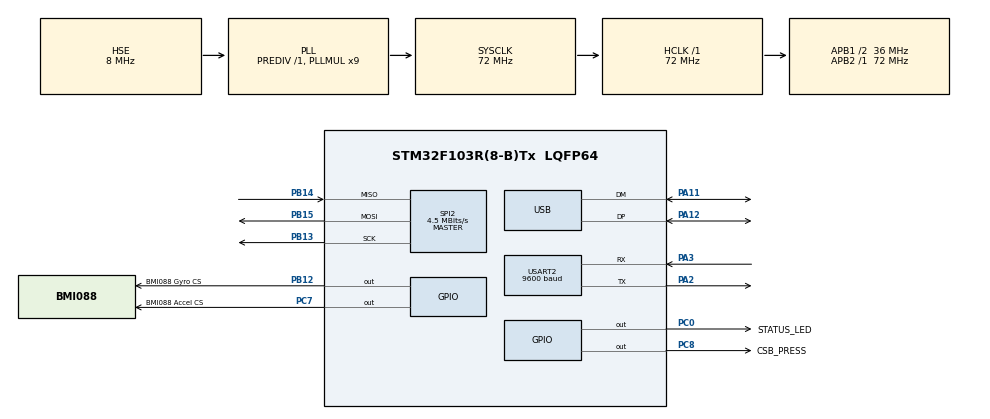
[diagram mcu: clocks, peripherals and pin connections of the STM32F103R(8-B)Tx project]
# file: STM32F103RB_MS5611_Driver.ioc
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Mcu.Family=STM32F1
Mcu.Name=STM32F103R(8-B)Tx
Mcu.Package=LQFP64
NVIC.PriorityGroup=NVIC_PRIORITYGROUP_4
NVIC.USART2_IRQn=true\:0\:0\:false\:false\:true\:true\:true\:true
NVIC.USB_LP_CAN1_RX0_IRQn=true\:0\:0\:false\:false\:true\:false\:true\:true
PA11.Mode=Device
PA11.Signal=USB_DM
PA12.Mode=Device
PA12.Signal=USB_DP
PA13.Mode=Serial_Wire
PA13.Signal=SYS_JTMS-SWDIO
PA14.Mode=Serial_Wire
PA14.Signal=SYS_JTCK-SWCLK
PA2.Mode=Asynchronous
PA2.Signal=USART2_TX
PA3.Mode=Asynchronous
PA3.Signal=USART2_RX
PB12.GPIO_Label=BMI088 Gyro CS
PB12.GPIO_Speed=GPIO_SPEED_FREQ_HIGH
PB12.PinState=GPIO_PIN_SET
PB12.Signal=GPIO_Output
PB13.Mode=Full_Duplex_Master
PB13.Signal=SPI2_SCK
PB14.Mode=Full_Duplex_Master
PB14.Signal=SPI2_MISO
PB15.Mode=Full_Duplex_Master
PB15.Signal=SPI2_MOSI
PC0.GPIO_Label=STATUS_LED
PC0.Signal=GPIO_Output
PC7.GPIO_Label=BMI088 Accel CS
PC7.GPIO_Speed=GPIO_SPEED_FREQ_HIGH
PC7.PinState=GPIO_PIN_SET
PC7.Signal=GPIO_Output
PC8.GPIO_Label=CSB_PRESS
PC8.GPIO_Speed=GPIO_SPEED_FREQ_HIGH
PC8.PinState=GPIO_PIN_SET
PC8.Signal=GPIO_Output
PD0-OSC_IN.Mode=HSE-External-Oscillator
PD0-OSC_IN.Signal=RCC_OSC_IN
PD1-OSC_OUT.Mode=HSE-External-Oscillator
PD1-OSC_OUT.Signal=RCC_OSC_OUT
ProjectManager.HeapSize=0x200
ProjectManager.StackSize=0x400
ProjectManager.TargetToolchain=STM32CubeIDE
RCC.AHBFreq_Value=72000000
RCC.APB1CLKDivider=RCC_HCLK_DIV2
RCC.APB1Freq_Value=36000000
RCC.APB1TimFreq_Value=72000000
RCC.APB2Freq_Value=72000000
RCC.APB2TimFreq_Value=72000000
RCC.EnbaleCSS=true
RCC.HCLKFreq_Value=72000000
RCC.PLLMUL=RCC_PLL_MUL9
RCC.PLLSourceVirtual=RCC_PLLSOURCE_HSE
RCC.SYSCLKFreq_VALUE=72000000
RCC.SYSCLKSource=RCC_SYSCLKSOURCE_PLLCLK
RCC.USBFreq_Value=48000000
RCC.USBPrescaler=RCC_USBCLKSOURCE_PLL_DIV1_5
SPI2.BaudRatePrescaler=SPI_BAUDRATEPRESCALER_8
SPI2.CLKPhase=SPI_PHASE_2EDGE
SPI2.CLKPolarity=SPI_POLARITY_HIGH
SPI2.CalculateBaudRate=4.5 MBits/s
SPI2.Direction=SPI_DIRECTION_2LINES
SPI2.Mode=SPI_MODE_MASTER
SPI2.VirtualType=VM_MASTER
USART2.BaudRate=9600
USART2.VirtualMode=VM_ASYNC
USB_DEVICE.CLASS_NAME_FS=CDC
USB_DEVICE.MANUFACTURER_STRING=AMA Engineering Solutions
USB_DEVICE.PRODUCT_STRING_CDC_FS=MS5611 Sensor Board
USB_DEVICE.VirtualMode=Cdc
USB_DEVICE.VirtualModeFS=Cdc_FS
VP_USB_DEVICE_VS_USB_DEVICE_CDC_FS.Mode=CDC_FS
board=custom

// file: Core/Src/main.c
/* USER CODE BEGIN Header */
/**
  ******************************************************************************
  * @file           : main.c
  * @brief          : Main program body
  ******************************************************************************
  * @attention
  *
  * Copyright (c) 2025 STMicroelectronics.
  * All rights reserved.
  *
  * This software is licensed under terms that can be found in the LICENSE file
  * in the root directory of this software component.
  * If no LICENSE file comes with this software, it is provided AS-IS.
  *
  ******************************************************************************
  */
/* USER CODE END Header */
#include "main.h"
#include "spi.h"
#include "usart.h"
#include "usb_device.h"
#include "gpio.h"

/* USER CODE BEGIN Includes */
#include "ms5611.h"
#include "usbd_cdc_if.h"
#include "bmi088.h"
#include "ublox_m8c.h"
#include <stdio.h>
#include <string.h>
/* USER CODE END Includes */

/* USER CODE BEGIN PV */
extern SPI_HandleTypeDef hspi2;
extern UART_HandleTypeDef huart2;

MS5611_Handle_t ms5611;
BMI088_Handle_t bmi088;
UBLOX_M8C_Handle_t gps;
// Global variables for Live Expressions / Data Trace
volatile float sensor_pressure = 0.0f;
volatile float sensor_temperature = 0.0f;
volatile float accel_x = 0.0f, accel_y = 0.0f, accel_z = 0.0f;
volatile float gyro_x = 0.0f, gyro_y = 0.0f, gyro_z = 0.0f;
volatile float imu_temperature = 0.0f;
volatile float gps_latitude = 0.0f;
volatile float gps_longitude = 0.0f;
volatile float gps_altitude = 0.0f;
volatile uint8_t gps_satellites = 0;

/* USER CODE END PV */

void SystemClock_Config(void);

int main(void)
{

  /* MCU Configuration--------------------------------------------------------*/

  /* Reset of all peripherals, Initializes the Flash interface and the Systick. */
  HAL_Init();

  /* Configure the system clock */
  SystemClock_Config();

  /* Initialize all configured peripherals */
  MX_GPIO_Init();
  MX_SPI2_Init();
  MX_USB_DEVICE_Init();
  MX_USART2_UART_Init();
  /* USER CODE BEGIN 2 */
  HAL_Delay(2000);

  char buffer[200];
  int len;

  /* Initialize MS5611 Barometer */
  len = sprintf(buffer, "\r\n=== Sensor Initialization ===\r\n");
  CDC_Transmit_FS((uint8_t*)buffer, len);
  HAL_Delay(200);

  len = sprintf(buffer, "Step 1: Init MS5611...\r\n");
  CDC_Transmit_FS((uint8_t*)buffer, len);
  HAL_Delay(200);

  if (!MS5611_Init(&ms5611, &hspi2, GPIOC, GPIO_PIN_8, MS5611_OSR_4096)) {
      len = sprintf(buffer, "MS5611: FAILED!\r\n");
      CDC_Transmit_FS((uint8_t*)buffer, len);
      HAL_Delay(200);

      // Rapid blink = MS5611 error (100ms)
      while (1) {
          HAL_GPIO_TogglePin(GPIOC, GPIO_PIN_0);
          HAL_Delay(100);
      }
  }
  len = sprintf(buffer, "Step 2: MS5611 OK!\r\n");
  CDC_Transmit_FS((uint8_t*)buffer, len);
  HAL_Delay(200);

  len = sprintf(buffer, "Step 3: Checking BMI088 CS pins...\r\n");
  CDC_Transmit_FS((uint8_t*)buffer, len);
  HAL_Delay(200);

  // Test CS pins are working
  HAL_GPIO_WritePin(GPIOC, GPIO_PIN_7, GPIO_PIN_SET);
  HAL_GPIO_WritePin(GPIOB, GPIO_PIN_12, GPIO_PIN_SET);
  HAL_Delay(10);

  len = sprintf(buffer, "Step 4: Init BMI088...\r\n");
  CDC_Transmit_FS((uint8_t*)buffer, len);
  HAL_Delay(200);

  if (!BMI088_Init(&bmi088, &hspi2,
                   GPIOC, GPIO_PIN_7,   // Accel CS
                   GPIOB, GPIO_PIN_12)) { // Gyro CS
      len = sprintf(buffer, "BMI088: FAILED!\r\n");
      CDC_Transmit_FS((uint8_t*)buffer, len);
      HAL_Delay(200);

      // Medium blink = BMI088 error (200ms)
      while (1) {
          HAL_GPIO_TogglePin(GPIOC, GPIO_PIN_0);
          HAL_Delay(200);
      }
  }
  len = sprintf(buffer, "Step 5: BMI088 OK!\r\n");
  CDC_Transmit_FS((uint8_t*)buffer, len);
  HAL_Delay(200);

  len = sprintf(buffer, "\r\n=== All Sensors Ready ===\r\n\r\n");
  CDC_Transmit_FS((uint8_t*)buffer, len);
  HAL_Delay(200);

  /* Initialize UBLOX M8C GPS */
  len = sprintf(buffer, "Step 6: Init UBLOX M8C GPS...\r\n");
  CDC_Transmit_FS((uint8_t*)buffer, len);
  HAL_Delay(200);

  UBLOX_M8C_Init(&gps, &huart2);

  len = sprintf(buffer, "Step 7: UBLOX M8C OK! Waiting for satellites...\r\n");
  CDC_Transmit_FS((uint8_t*)buffer, len);
  HAL_Delay(200);

  len = sprintf(buffer, "\r\n=== All Sensors Ready ===\r\n\r\n");
  CDC_Transmit_FS((uint8_t*)buffer, len);
  HAL_Delay(200);

  uint32_t last_led_toggle = 0;
  uint32_t last_sensor_read = 0;
  uint32_t last_gps_update = 0;

  /* USER CODE END 2 */

  /* Infinite loop */
  /* USER CODE BEGIN WHILE */
  while (1)
  {
      // Process GPS data if new NMEA sentence received
      if (UBLOX_M8C_HasNewData(&gps)) {
          if (UBLOX_M8C_ParseNMEA(&gps)) {
              GPS_Data_t gps_data;
              UBLOX_M8C_GetData(&gps, &gps_data);

              gps_latitude = gps_data.latitude;
              gps_longitude = gps_data.longitude;
              gps_altitude = gps_data.altitude;
              gps_satellites = gps_data.satellites;

              last_gps_update = HAL_GetTick();
          }

          // Also send raw NMEA sentence
          const char *nmea = UBLOX_M8C_GetLastSentence(&gps);
          if (nmea[0] == '$') {
              len = sprintf(buffer, "NMEA: %s", nmea);
              CDC_Transmit_FS((uint8_t*)buffer, len);
          }
      }

      // Read all sensors every 500ms
      if (HAL_GetTick() - last_sensor_read >= 500) {
          last_sensor_read = HAL_GetTick();

          // Read MS5611
          float pressure, temperature;
          if (MS5611_ReadSensor(&ms5611, &pressure, &temperature)) {
              sensor_pressure = pressure;
              sensor_temperature = temperature;
          }

          // Read BMI088 Accelerometer
          BMI088_AccelData_t accel;
          if (BMI088_ReadAccel(&bmi088, &accel)) {
              accel_x = accel.x;
              accel_y = accel.y;
              accel_z = accel.z;
          }

          // Read BMI088 Gyroscope
          BMI088_GyroData_t gyro;
          if (BMI088_ReadGyro(&bmi088, &gyro)) {
              gyro_x = gyro.x;
              gyro_y = gyro.y;
              gyro_z = gyro.z;
          }

          // Format and send data
          int p_int = (int)sensor_pressure;
          int p_frac = (int)((sensor_pressure - p_int) * 100);
          int t_int = (int)sensor_temperature;
          int t_frac = (int)((sensor_temperature - t_int) * 100);
          if (sensor_temperature < 0 && t_frac != 0) t_frac = -t_frac;

          len = sprintf(buffer, "SENS: P:%d.%02d mbar T:%d.%02d C | ",
                       p_int, p_frac, t_int, t_frac);

          // Accelerometer
          int ax_int = (int)accel_x;
          int ax_frac = (int)((accel_x - ax_int) * 100);
          if (accel_x < 0 && ax_frac != 0) ax_frac = -ax_frac;

          int ay_int = (int)accel_y;
          int ay_frac = (int)((accel_y - ay_int) * 100);
          if (accel_y < 0 && ay_frac != 0) ay_frac = -ay_frac;

          int az_int = (int)accel_z;
          int az_frac = (int)((accel_z - az_int) * 100);
          if (accel_z < 0 && az_frac != 0) az_frac = -az_frac;

          len += sprintf(buffer + len, "A:[%d.%02d,%d.%02d,%d.%02d]g | ",
                        ax_int, ax_frac, ay_int, ay_frac, az_int, az_frac);

          // Gyroscope
          int gx_int = (int)gyro_x;
          int gx_frac = (int)((gyro_x - gx_int) * 100);
          if (gyro_x < 0 && gx_frac != 0) gx_frac = -gx_frac;

          int gy_int = (int)gyro_y;
          int gy_frac = (int)((gyro_y - gy_int) * 100);
          if (gyro_y < 0 && gy_frac != 0) gy_frac = -gy_frac;

          int gz_int = (int)gyro_z;
          int gz_frac = (int)((gyro_z - gz_int) * 100);
          if (gyro_z < 0 && gz_frac != 0) gz_frac = -gz_frac;

          len += sprintf(buffer + len, "G:[%d.%02d,%d.%02d,%d.%02d]dps",
                        gx_int, gx_frac, gy_int, gy_frac, gz_int, gz_frac);

          // Add GPS summary
          if (gps_satellites > 0) {
              len += sprintf(buffer + len, " | GPS:SAT=%d", gps_satellites);
          } else {
              len += sprintf(buffer + len, " | GPS:No Fix");
          }

          len += sprintf(buffer + len, "\r\n");
          CDC_Transmit_FS((uint8_t*)buffer, len);
      }

      // Toggle LED every second
      if (HAL_GetTick() - last_led_toggle >= 1000) {
          HAL_GPIO_TogglePin(GPIOC, GPIO_PIN_0);
          last_led_toggle = HAL_GetTick();
      }

      HAL_Delay(10);
  }
}

void SystemClock_Config(void)
{
  RCC_OscInitTypeDef RCC_OscInitStruct = {0};
  RCC_ClkInitTypeDef RCC_ClkInitStruct = {0};
  RCC_PeriphCLKInitTypeDef PeriphClkInit = {0};

  /** Initializes the RCC Oscillators according to the specified parameters
  * in the RCC_OscInitTypeDef structure.
  */
  RCC_OscInitStruct.OscillatorType = RCC_OSCILLATORTYPE_HSE;
  RCC_OscInitStruct.HSEState = RCC_HSE_ON;
  RCC_OscInitStruct.HSEPredivValue = RCC_HSE_PREDIV_DIV1;
  RCC_OscInitStruct.HSIState = RCC_HSI_ON;
  RCC_OscInitStruct.PLL.PLLState = RCC_PLL_ON;
  RCC_OscInitStruct.PLL.PLLSource = RCC_PLLSOURCE_HSE;
  RCC_OscInitStruct.PLL.PLLMUL = RCC_PLL_MUL9;
  if (HAL_RCC_OscConfig(&RCC_OscInitStruct) != HAL_OK)
  {
    Error_Handler();
  }

  /** Initializes the CPU, AHB and APB buses clocks
  */
  RCC_ClkInitStruct.ClockType = RCC_CLOCKTYPE_HCLK|RCC_CLOCKTYPE_SYSCLK
                              |RCC_CLOCKTYPE_PCLK1|RCC_CLOCKTYPE_PCLK2;
  RCC_ClkInitStruct.SYSCLKSource = RCC_SYSCLKSOURCE_PLLCLK;
  RCC_ClkInitStruct.AHBCLKDivider = RCC_SYSCLK_DIV1;
  RCC_ClkInitStruct.APB1CLKDivider = RCC_HCLK_DIV2;
  RCC_ClkInitStruct.APB2CLKDivider = RCC_HCLK_DIV1;

  if (HAL_RCC_ClockConfig(&RCC_ClkInitStruct, FLASH_LATENCY_2) != HAL_OK)
  {
    Error_Handler();
  }
  PeriphClkInit.PeriphClockSelection = RCC_PERIPHCLK_USB;
  PeriphClkInit.UsbClockSelection = RCC_USBCLKSOURCE_PLL_DIV1_5;
  if (HAL_RCCEx_PeriphCLKConfig(&PeriphClkInit) != HAL_OK)
  {
    Error_Handler();
  }

  /** Enables the Clock Security System
  */
  HAL_RCC_EnableCSS();
}

/* USER CODE BEGIN 4 */
void HAL_UART_RxCpltCallback(UART_HandleTypeDef *huart) {
    if (huart->Instance == USART2) {
        // Process received byte
        UBLOX_M8C_ProcessByte(&gps, gps.rx_buffer[0]);

        // Continue receiving
        HAL_UART_Receive_IT(&huart2, gps.rx_buffer, 1);
    }
}
/* USER CODE END 4 */

void Error_Handler(void)
{
  __disable_irq();
  while (1)
  {
  }
}
